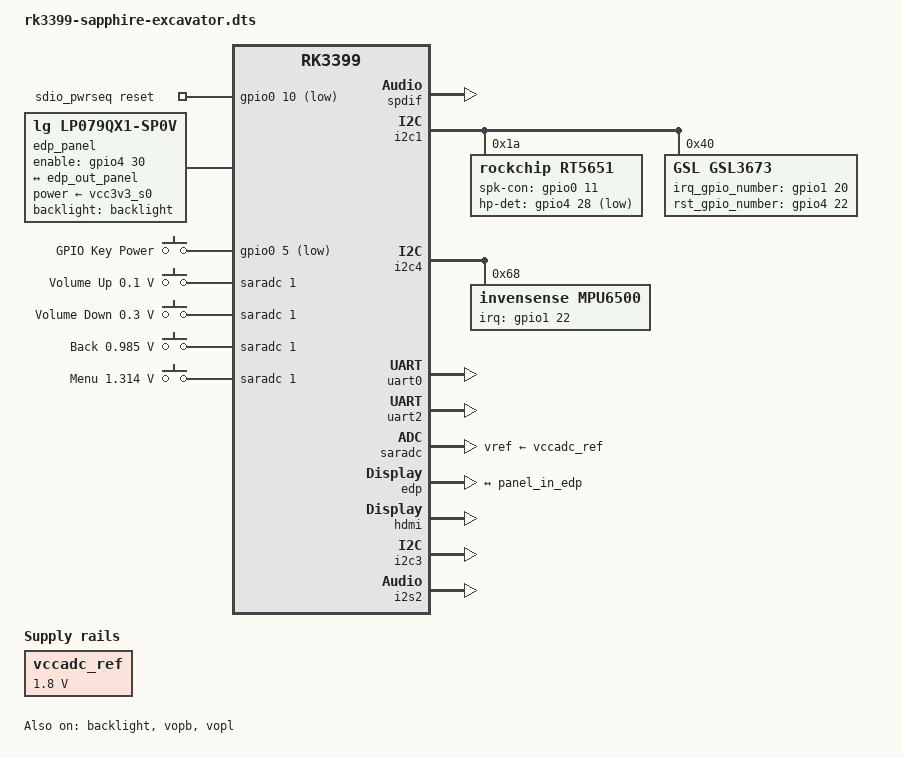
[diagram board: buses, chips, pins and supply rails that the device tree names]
/*
 * Copyright (c) 2016 Fuzhou Rockchip Electronics Co., Ltd
 *
 * This file is dual-licensed: you can use it either under the terms
 * of the GPL or the X11 license, at your option. Note that this dual
 * licensing only applies to this file, and not this project as a
 * whole.
 *
 *  a) This file is free software; you can redistribute it and/or
 *     modify it under the terms of the GNU General Public License as
 *     published by the Free Software Foundation; either version 2 of the
 *     License, or (at your option) any later version.
 *
 *     This file is distributed in the hope that it will be useful,
 *     but WITHOUT ANY WARRANTY; without even the implied warranty of
 *     MERCHANTABILITY or FITNESS FOR A PARTICULAR PURPOSE.  See the
 *     GNU General Public License for more details.
 *
 * Or, alternatively,
 *
 *  b) Permission is hereby granted, free of charge, to any person
 *     obtaining a copy of this software and associated documentation
 *     files (the "Software"), to deal in the Software without
 *     restriction, including without limitation the rights to use,
 *     copy, modify, merge, publish, distribute, sublicense, and/or
 *     sell copies of the Software, and to permit persons to whom the
 *     Software is furnished to do so, subject to the following
 *     conditions:
 *
 *     The above copyright notice and this permission notice shall be
 *     included in all copies or substantial portions of the Software.
 *
 *     THE SOFTWARE IS PROVIDED "AS IS", WITHOUT WARRANTY OF ANY KIND,
 *     EXPRESS OR IMPLIED, INCLUDING BUT NOT LIMITED TO THE WARRANTIES
 *     OF MERCHANTABILITY, FITNESS FOR A PARTICULAR PURPOSE AND
 *     NONINFRINGEMENT. IN NO EVENT SHALL THE AUTHORS OR COPYRIGHT
 *     HOLDERS BE LIABLE FOR ANY CLAIM, DAMAGES OR OTHER LIABILITY,
 *     WHETHER IN AN ACTION OF CONTRACT, TORT OR OTHERWISE, ARISING
 *     FROM, OUT OF OR IN CONNECTION WITH THE SOFTWARE OR THE USE OR
 *     OTHER DEALINGS IN THE SOFTWARE.
 */

/dts-v1/;
#include <dt-bindings/input/input.h>
#include "rk3399-sapphire.dtsi"

/ {
	compatible = "rockchip,rk3399-sapphire-excavator", "rockchip,rk3399";

	sdio_pwrseq: sdio-pwrseq {
		compatible = "mmc-pwrseq-simple";
		clocks = <&rk808 1>;
		clock-names = "ext_clock";
		pinctrl-names = "default";
		pinctrl-0 = <&wifi_enable_h>;

		/*
		 * On the module itself this is one of these (depending
		 * on the actual card populated):
		 * - SDIO_RESET_L_WL_REG_ON
		 * - PDN (power down when low)
		 */
		reset-gpios = <&gpio0 10 GPIO_ACTIVE_LOW>; /* GPIO0_B2 */
	};

	edp_panel: edp-panel {
		status = "okay";
		compatible = "lg,lp079qx1-sp0v", "panel-simple";
		backlight = <&backlight>;
		power-supply = <&vcc3v3_s0>;
		enable-gpios = <&gpio4 30 GPIO_ACTIVE_HIGH>;
		pinctrl-names = "default";
		pinctrl-0 = <&lcd_panel_reset>;

		ports {
			panel_in_edp: endpoint {
				remote-endpoint = <&edp_out_panel>;
			};
		};
	};

	gpio-keys {
		compatible = "gpio-keys";
		#address-cells = <1>;
		#size-cells = <0>;
		autorepeat;

		pinctrl-names = "default";
		pinctrl-0 = <&pwrbtn>;

		button@0 {
			gpios = <&gpio0 5 GPIO_ACTIVE_LOW>;
			linux,code = <KEY_POWER>;
			label = "GPIO Key Power";
			linux,input-type = <1>;
			gpio-key,wakeup = <1>;
			debounce-interval = <100>;
		};
	};

	vccadc_ref: vccadc-ref {
		compatible = "regulator-fixed";
		regulator-name = "vcc1v8_sys";
		regulator-always-on;
		regulator-boot-on;
		regulator-min-microvolt = <1800000>;
		regulator-max-microvolt = <1800000>;
	};

	adc-keys {
		compatible = "adc-keys";
		io-channels = <&saradc 1>;
		io-channel-names = "buttons";
		poll-interval = <100>;
		keyup-threshold-microvolt = <1800000>;

		button-up {
			label = "Volume Up";
			linux,code = <KEY_VOLUMEUP>;
			press-threshold-microvolt = <100000>;
		};

		button-down {
			label = "Volume Down";
			linux,code = <KEY_VOLUMEDOWN>;
			press-threshold-microvolt = <300000>;
		};

		back {
			label = "Back";
			linux,code = <KEY_BACK>;
			press-threshold-microvolt = <985000>;
		};

		menu {
			label = "Menu";
			linux,code = <KEY_MENU>;
			press-threshold-microvolt = <1314000>;
		};
	};
};

&spdif {
	status = "okay";
	pinctrl-0 = <&spdif_bus>;
	i2c-scl-rising-time-ns = <450>;
	i2c-scl-falling-time-ns = <15>;
	#sound-dai-cells = <0>;
};

&i2c1 {
	status = "okay";
	i2c-scl-rising-time-ns = <300>;
	i2c-scl-falling-time-ns = <15>;

	rt5651: rt5651@1a {
		#sound-dai-cells = <0>;
		compatible = "rockchip,rt5651";
		reg = <0x1a>;
		clocks = <&cru SCLK_I2S_8CH_OUT>;
		clock-names = "mclk";
		spk-con-gpio = <&gpio0 11 GPIO_ACTIVE_HIGH>;
		hp-det-gpio = <&gpio4 28 GPIO_ACTIVE_LOW>;
	};
};

&i2c4 {
	status = "okay";
	i2c-scl-rising-time-ns = <600>;
	i2c-scl-falling-time-ns = <20>;

	mpu6500@68 {
		status = "okay";
		compatible = "invensense,mpu6500";
		reg = <0x68>;
		irq-gpio = <&gpio1 22 IRQ_TYPE_EDGE_RISING>;
		mpu-int_config = <0x10>;
		mpu-level_shifter = <0>;
		mpu-orientation = <0 1 0 1 0 0 0 0 1>;
		orientation-x= <1>;
		orientation-y= <0>;
		orientation-z= <0>;
		mpu-debug = <1>;
	};
};

&uart0 {
	pinctrl-names = "default";
	pinctrl-0 = <&uart0_xfer &uart0_cts>;
	status = "okay";
};

&uart2 {
	status = "okay";
};

&saradc {
	status = "okay";
};

&pinctrl {
	sdio-pwrseq {
		wifi_enable_h: wifi-enable-h {
			rockchip,pins =
				<0 10 RK_FUNC_GPIO &pcfg_pull_none>;
		};
	};

	wireless-bluetooth {
		uart0_gpios: uart0-gpios {
			rockchip,pins =
				<2 19 RK_FUNC_GPIO &pcfg_pull_none>;
		};
	};
};


&saradc {
	vref-supply = <&vccadc_ref>;
};

&backlight {
	status = "okay";

};

&edp {
	status = "okay";

	ports {
		edp_out: port@1 {
			reg = <1>;
			#address-cells = <1>;
			#size-cells = <0>;

			edp_out_panel: endpoint@0 {
				reg = <0>;
				remote-endpoint = <&panel_in_edp>;
			};
		};
	};
};

&hdmi {
	ddc-i2c-bus = <&i2c3>;
	status = "okay";
};

&i2c1 {
	status = "okay";

	gsl3673: gsl3673@40 {
		compatible = "GSL,GSL3673";
		reg = <0x40>;
		screen_max_x = <1536>;
		screen_max_y = <2048>;
		irq_gpio_number = <&gpio1 20 IRQ_TYPE_LEVEL_LOW>;
		rst_gpio_number = <&gpio4 22 GPIO_ACTIVE_HIGH>;
	};
};

&i2c3 {
	status = "okay";
	i2c-scl-rising-time-ns = <450>;
	i2c-scl-falling-time-ns = <15>;
};

&i2s2 {
	#sound-dai-cells = <0>;
	status = "okay";
};

&vopb {
	status = "okay";
};

&vopb_mmu {
	status = "okay";
};

&vopl {
	status = "okay";
};

&vopl_mmu {
	status = "okay";
};

&pinctrl {

	buttons {
		pwrbtn: pwrbtn {
			rockchip,pins = <0 5 RK_FUNC_GPIO &pcfg_pull_up>;
		};
	};

	lcd-panel {
		lcd_panel_reset: lcd-panel-reset {
			rockchip,pins = <4 30 RK_FUNC_GPIO &pcfg_pull_up>;
		};
	};
};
